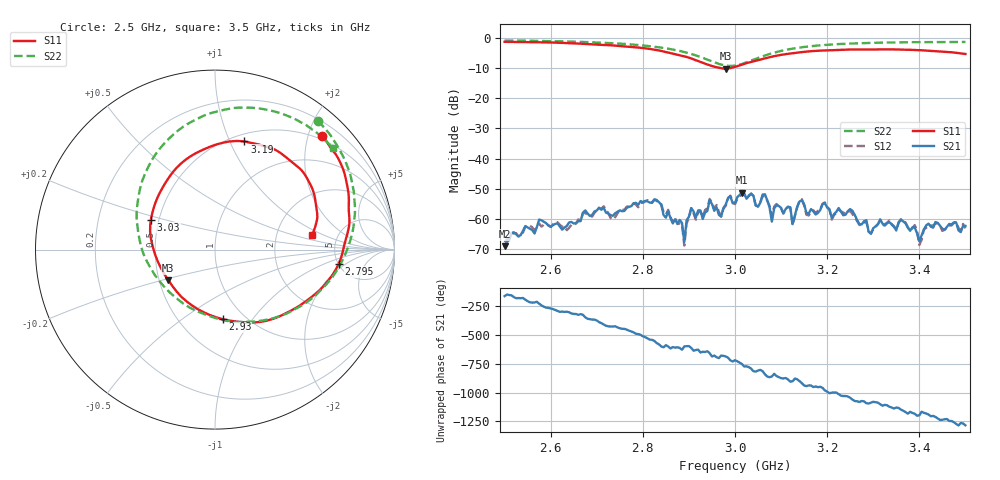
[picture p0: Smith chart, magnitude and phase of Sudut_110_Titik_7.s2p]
# Hz S RI R 50
! CMT, C1220, 16058040, 17.2.0/1
! Date: 15/08/2018 10:08:07
! Data: Format (Calibration Info)
! Freq  S11: Re/Im (F2)  S21: Re/Im (F2)  S12: Re/Im (F2)  S22: Re/Im (F2)
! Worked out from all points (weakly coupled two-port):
!   201 points, 2.5 GHz to 3.5 GHz, reference 50 ohm
!   highest |S21| = -51.33 dB at 3.015 GHz (marker M1); lowest = -69.1 dB at 2.5 GHz (marker M2)
!   lowest |S11| = -10.1 dB at 2.98 GHz (marker M3), VSWR 1.90, Z = 27.9 - j10.5 ohm
!   |S11| at or under -10 dB: 2.97 GHz to 2.988 GHz (17.36 MHz wide, 0.583 % of centre)
!   |S22| runs from -9.2 to -0.7 dB; largest |S21 - S12| = 0.00022
!   S11 on the Smith chart (normalised r, x): 2.5 GHz: 0.43, +2.25; 2.795 GHz: 5.03, -1.55; 2.93 GHz: 0.80, -0.73; 3.03 GHz: 0.45, +0.18; 3.19 GHz: 0.57, +1.13; 3.5 GHz: 3.23, +0.74
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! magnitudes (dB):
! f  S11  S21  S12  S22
! 2.5 GHz  -1.2  -69.1  -67.8  -0.7
! 2.67 GHz  -1.9  -58.0  -58.1  -1.2
! 2.795 GHz  -3.2  -54.1  -54.6  -2.3
! 2.835 GHz  -4.1  -54.5  -54.6  -3.0
! 2.885 GHz  -5.8  -61.4  -61.8  -4.4
! 2.89 GHz  -6.0  -67.6  -68.9  -4.6
! 2.905 GHz  -6.7  -56.5  -56.4  -5.2
! 2.93 GHz  -8.2  -60.1  -59.3  -6.5
! 2.98 GHz  -10.1  -55.2  -55.7  -9.1
! 3 GHz  -9.5  -54.7  -55.1  -9.1
! 3.015 GHz  -8.8  -51.3  -51.5  -8.6
! 3.03 GHz  -8.1  -52.3  -52.4  -7.7
! 3.065 GHz  -6.7  -51.9  -52.5  -5.7
! 3.08 GHz  -6.1  -60.9  -59.2  -5.0
! 3.17 GHz  -4.3  -57.5  -57.2  -2.6
! 3.19 GHz  -4.1  -55.1  -55.0  -2.3
! 3.295 GHz  -3.8  -64.9  -65.0  -1.6
! 3.335 GHz  -3.7  -61.1  -60.6  -1.4
! 3.39 GHz  -3.9  -62.9  -62.1  -1.3
! 3.4 GHz  -4.0  -67.5  -68.7  -1.3
! 3.44 GHz  -4.3  -61.4  -61.4  -1.3
! 3.5 GHz  -5.2  -62.4  -63.2  -1.2
